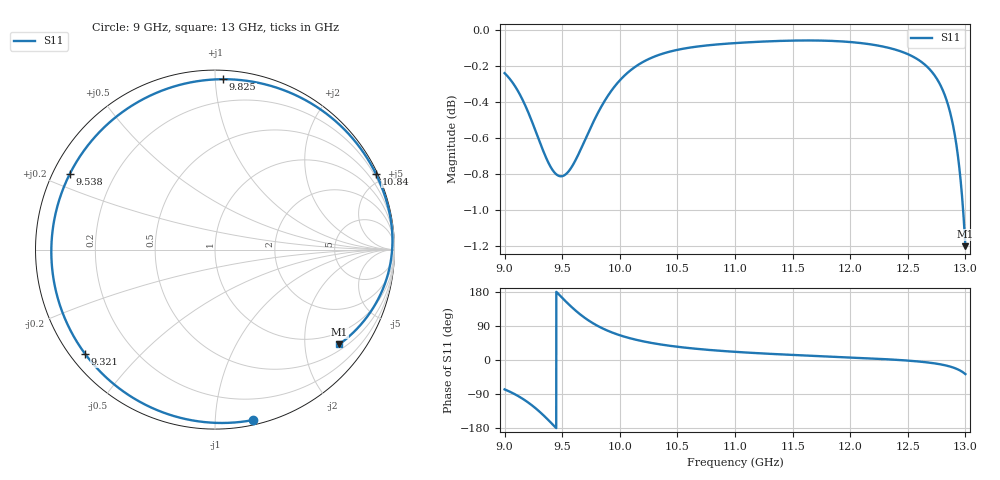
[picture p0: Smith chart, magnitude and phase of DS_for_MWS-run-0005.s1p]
! TOUCHSTONE file generated by CST DESIGN STUDIO
! Date and time: Tue Feb  4 12:50:17 2025
! Project name: C:\Work\MatlabApps\UnitCellOptimizationMatlab\CST\unitcell.cst
! Tree item: Tasks\Sweep1\SPara1\S-Parameters
! Header version: 2024
! Port assignment regex: !\s*Touchstone port\s*([0-9]+)\s*=\s*(CST MWS port|CST DES external port|CST DES block port)\s*(.+)\s* \(\"(.*)\"\)(\s*mode\s*([0-9]+))?.*
! Touchstone port assignment:
! Touchstone port 1 = CST DES external port 1 ("")
# GHz S MA R 50
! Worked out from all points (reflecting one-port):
!   4001 points, 9 GHz to 13 GHz, reference 50 ohm
!   lowest |S11| = -1.2 dB at 13 GHz (marker M1), VSWR 14.49, Z = 32.5 - j142 ohm
!   phase of S11 starts at -78 deg and turns -320 deg over the sweep
!   S11 on the Smith chart (normalised r, x): 9 GHz: 0.03, -1.24; 9.321 GHz: 0.04, -0.35; 9.538 GHz: 0.05, +0.25; 9.825 GHz: 0.05, +1.05; 10.84 GHz: 0.10, +4.49; 13 GHz: 0.65, -2.83
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9  0.9729 -77.5
9.101  0.9636 -92.3
9.181  0.9527 -107.1
9.253  0.9405 -123.4
9.321  0.9281 -141.3
9.37  0.9202 -155.5
9.414  0.9146 -169.1
9.457  0.9115 177.4
9.5  0.9108 164.0
9.538  0.9124 152.4
9.605  0.9188 133.4
9.671  0.9281 116.8
9.742  0.9388 101.7
9.825  0.9505 87.2
9.91  0.9603 75.4
10  0.9684 65.3
10.102  0.9752 56.3
10.216  0.9805 48.4
10.5  0.9875 34.9
10.835  0.9909 25.1
11  0.9918 21.6
11.5  0.9934 13.4
12  0.9925 6.7
12.5  0.9848 -1.6
12.699  0.9746 -7.5
12.843  0.9548 -15.3
12.929  0.9259 -24.0
13  0.8709 -37.2
